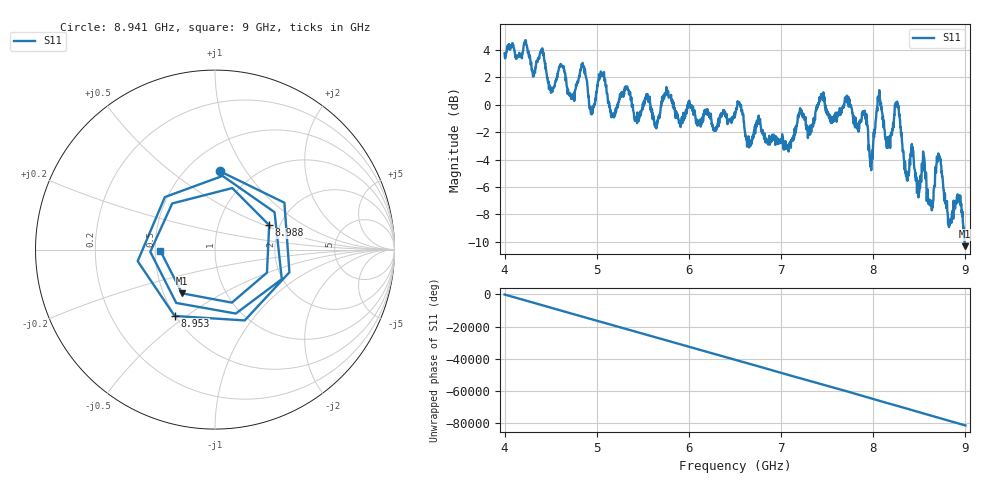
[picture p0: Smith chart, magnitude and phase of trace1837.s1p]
! Created with skrf 1.8.0 (http://scikit-rf.org).
# Hz S RI R 50.0
!freq ReS11 ImS11
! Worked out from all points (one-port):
!   1601 points, 4 GHz to 9 GHz, reference 50 ohm
!   lowest |S11| = -10.3 dB at 8.997 GHz (marker M1), VSWR 1.88, Z = 31.1 - j16.7 ohm
!   |S11| at or under -10 dB: 8.991246 GHz to end of sweep
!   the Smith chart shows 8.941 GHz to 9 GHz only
!   S11 on the Smith chart (normalised r, x): 8.941 GHz: 0.71, +0.77; 8.953 GHz: 0.50, -0.45; 8.988 GHz: 1.76, +0.54; 9 GHz: 0.53, -0.01
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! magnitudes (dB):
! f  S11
! 4 GHz  3.8
! 4.506 GHz  1.0
! 4.625 GHz  2.8
! 4.731 GHz  0.5
! 4.853 GHz  2.8
! 4.944 GHz  -0.7
! 5.047 GHz  2.3
! 5.172 GHz  -0.8
! 5.25 GHz  0.7
! 5.875 GHz  -0.9
! 6.5 GHz  -0.8
! 7.125 GHz  -2.6
! 7.75 GHz  0.0
! 7.909 GHz  -0.4
! 7.975 GHz  -4.3
! 8.059 GHz  0.6
! 8.159 GHz  -2.9
! 8.259 GHz  0.2
! 8.375 GHz  -5.4
! 8.55 GHz  -3.8
! 8.622 GHz  -7.4
! 8.712 GHz  -3.9
! 8.828 GHz  -8.7
! 8.941 GHz  -7.2
! 8.953 GHz  -7.3
! 8.988 GHz  -9.6
! 8.997 GHz  -10.3
! 9 GHz  -10.3
